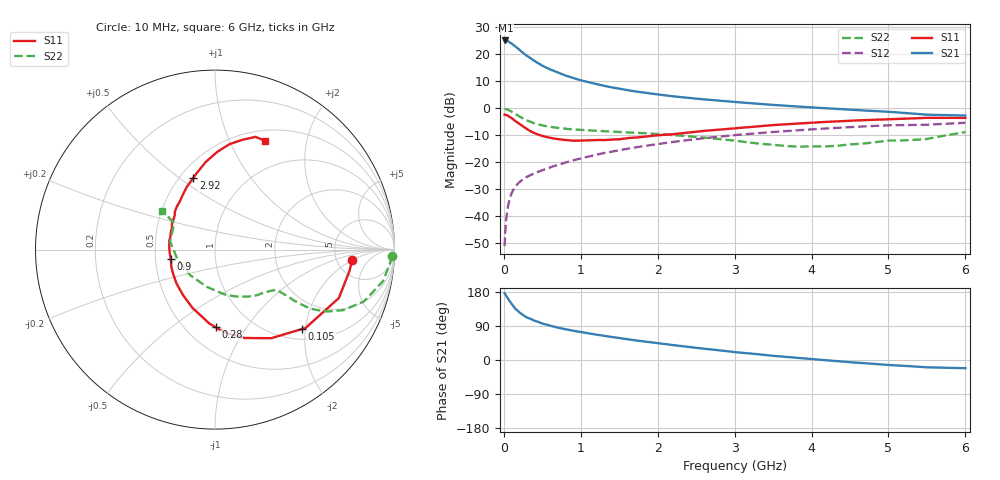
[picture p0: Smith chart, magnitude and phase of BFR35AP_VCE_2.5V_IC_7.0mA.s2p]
! Infineon Technologies  Discrete & RF Semiconductors
! BFR35AP
! VCE =  2.5 V,  IC =  7.0 mA
! Common Emitter S-Parameters:  Nov 2015
# GHz  S  MA  R  50
!  f  S11  S21  S12  S22
! GHz  MAG  ANG  MAG  ANG  MAG  ANG  MAG  ANG
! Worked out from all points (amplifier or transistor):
!   210 points, 10 MHz to 6 GHz, reference 50 ohm
!   highest |S21| = 25.2 dB at 20 MHz (marker M1)
!   |S21| within 3 dB of that: start of sweep to 183.2 MHz
!   unconditionally stable (mu >= 1): 670.1 MHz to 3.731 GHz
!   at 185 MHz: K = 0.47, MSG = 25.0 dB, |S12| = -27.8 dB
!   at 1.52 GHz: K = 1.13, MAG = 9.1 dB, |S12| = -15.4 dB
!   at 6 GHz: K = 0.97, MSG = 1.3 dB, |S12| = -5.3 dB
!   S11 on the Smith chart (normalised r, x): 10 MHz: 6.97, -1.98; 105 MHz: 1.23, -1.92; 280 MHz: 0.69, -0.73; 900 MHz: 0.60, -0.07; 2.92 GHz: 0.58, +0.56; 6 GHz: 0.63, +1.37
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0.01  0.7658 -4.4  18.06 176.6  0.0028 90.5  0.9871 -2.1
0.02  0.7592 -8.9  18.14 172.8  0.0056 85.0  0.9785 -4.3
0.05  0.7409 -21.4  17.7 162.9  0.0144 80.1  0.9531 -10.6
0.1  0.6672 -40.9  15.97 148.2  0.0267 70.8  0.8785 -19.2
0.105  0.6567 -42.4  15.75 147.0  0.0276 70.0  0.8692 -19.8
0.15  0.5847 -57.6  14.1 135.1  0.0359 64.8  0.7895 -25.3
0.2  0.5195 -71.5  12.26 126.0  0.0428 61.4  0.7117 -29.0
0.24  0.4741 -80.8  10.97 120.0  0.0475 59.8  0.6611 -30.6
0.28  0.4324 -89.6  9.904 114.8  0.0518 58.7  0.6182 -31.7
0.3  0.4139 -94.2  9.414 112.1  0.0539 58.3  0.5981 -32.1
0.4  0.3473 -111.4  7.534 103.5  0.0628 57.9  0.5266 -32.8
0.5  0.3094 -125.3  6.18 96.2  0.0715 58.6  0.4823 -32.8
0.7  0.2698 -149.8  4.61 85.5  0.0897 59.7  0.4349 -33.0
0.9  0.2519 -167.5  3.651 77.3  0.109 60.2  0.4074 -33.7
1.02  0.2536 -178.0  3.264 73.1  0.1204 60.3  0.3979 -34.7
1.4  0.2655 157.6  2.45 60.8  0.1577 58.9  0.3735 -39.4
2.02  0.319 132.1  1.796 43.9  0.2205 54.1  0.3339 -50.6
2.92  0.4171 106.9  1.346 22.8  0.3115 44.4  0.2595 -75.8
3.1  0.4385 103.3  1.283 19.1  0.3284 42.0  0.2421 -82.8
4.1  0.5535 87.3  1.022 0.8  0.4175 29.2  0.197 -140.2
5.1  0.6357 75.0  0.845 -14.2  0.4875 15.2  0.254 165.2
6  0.6666 65.3  0.736 -21.7  0.5414 5.1  0.3627 143.9
